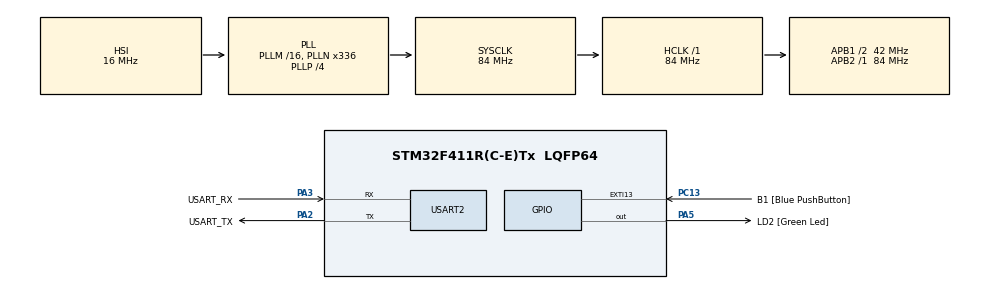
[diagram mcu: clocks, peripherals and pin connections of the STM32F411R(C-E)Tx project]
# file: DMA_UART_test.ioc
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Dma.Request0=USART2_RX
Dma.USART2_RX.0.Direction=DMA_PERIPH_TO_MEMORY
Dma.USART2_RX.0.FIFOMode=DMA_FIFOMODE_DISABLE
Dma.USART2_RX.0.Instance=DMA1_Stream5
Dma.USART2_RX.0.MemDataAlignment=DMA_MDATAALIGN_BYTE
Dma.USART2_RX.0.MemInc=DMA_MINC_ENABLE
Dma.USART2_RX.0.Mode=DMA_CIRCULAR
Dma.USART2_RX.0.PeriphDataAlignment=DMA_PDATAALIGN_BYTE
Dma.USART2_RX.0.PeriphInc=DMA_PINC_DISABLE
Dma.USART2_RX.0.Priority=DMA_PRIORITY_LOW
Mcu.Family=STM32F4
Mcu.Name=STM32F411R(C-E)Tx
Mcu.Package=LQFP64
NVIC.DMA1_Stream5_IRQn=true\:0\:0\:false\:false\:true\:false\:true\:true
NVIC.PriorityGroup=NVIC_PRIORITYGROUP_0
NVIC.USART2_IRQn=true\:0\:0\:false\:false\:true\:true\:true\:true
PA13.GPIO_Label=TMS
PA13.Mode=Serial_Wire
PA13.Signal=SYS_JTMS-SWDIO
PA14.GPIO_Label=TCK
PA14.Mode=Serial_Wire
PA14.Signal=SYS_JTCK-SWCLK
PA2.GPIO_Label=USART_TX
PA2.Mode=Asynchronous
PA2.Signal=USART2_TX
PA3.GPIO_Label=USART_RX
PA3.Mode=Asynchronous
PA3.Signal=USART2_RX
PA5.GPIO_Label=LD2 [Green Led]
PA5.Signal=GPIO_Output
PB3.GPIO_Label=SWO
PB3.Signal=SYS_JTDO-SWO
PC13-ANTI_TAMP.GPIO_Label=B1 [Blue PushButton]
PC13-ANTI_TAMP.GPIO_ModeDefaultEXTI=GPIO_MODE_IT_FALLING
PC13-ANTI_TAMP.Signal=GPXTI13
PC14-OSC32_IN.Mode=LSE-External-Oscillator
PC14-OSC32_IN.Signal=RCC_OSC32_IN
PC15-OSC32_OUT.Mode=LSE-External-Oscillator
PC15-OSC32_OUT.Signal=RCC_OSC32_OUT
PH0\ -\ OSC_IN.Mode=HSE-External-Clock-Source
PH0\ -\ OSC_IN.Signal=RCC_OSC_IN
PH1\ -\ OSC_OUT.Mode=HSE-External-Clock-Source
PH1\ -\ OSC_OUT.Signal=RCC_OSC_OUT
ProjectManager.HeapSize=0x200
ProjectManager.StackSize=0x400
ProjectManager.TargetToolchain=STM32CubeIDE
RCC.48MHZClocksFreq_Value=84000000
RCC.AHBFreq_Value=84000000
RCC.APB1CLKDivider=RCC_HCLK_DIV2
RCC.APB1Freq_Value=42000000
RCC.APB1TimFreq_Value=84000000
RCC.APB2Freq_Value=84000000
RCC.APB2TimFreq_Value=84000000
RCC.CortexFreq_Value=84000000
RCC.FLatency-AdvancedSettings=FLASH_LATENCY_2
RCC.HCLKFreq_Value=84000000
RCC.HSE_VALUE=8000000
RCC.HSI_VALUE=16000000
RCC.PLLN=336
RCC.PLLP=RCC_PLLP_DIV4
RCC.SYSCLKFreq_VALUE=84000000
RCC.SYSCLKSource=RCC_SYSCLKSOURCE_PLLCLK
RCC.VCOOutputFreq_Value=336000000
USART2.VirtualMode=VM_ASYNC
board=NUCLEO-F411RE

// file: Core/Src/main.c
/* USER CODE BEGIN Header */
/**
  ******************************************************************************
  * @file           : main.c
  * @brief          : Main program body
  ******************************************************************************
  * @attention
  *
  * Copyright (c) 2025 STMicroelectronics.
  * All rights reserved.
  *
  * This software is licensed under terms that can be found in the LICENSE file
  * in the root directory of this software component.
  * If no LICENSE file comes with this software, it is provided AS-IS.
  *
  ******************************************************************************
  */
/* USER CODE END Header */
#include "main.h"

/* USER CODE BEGIN Includes */
#include <stdio.h>
#include <string.h>
/* USER CODE END Includes */

UART_HandleTypeDef huart2;
DMA_HandleTypeDef hdma_usart2_rx;

/* USER CODE BEGIN PV */
uint8_t receive_data = 0;
const char* send_msg = "send\n\r";
const char* recv_msg = "recv\n\r";
volatile uint8_t flag_received = 0;
volatile uint8_t last_receive_tick = 0;
/* USER CODE END PV */

void SystemClock_Config(void);
static void MX_GPIO_Init(void);
static void MX_DMA_Init(void);
static void MX_USART2_UART_Init(void);
/* USER CODE BEGIN PFP */
void HAL_UART_RxCpltCallback(UART_HandleTypeDef* huart)
{
	if (huart->Instance == USART2)
	{
		flag_received = 1;
		last_receive_tick = HAL_GetTick();
		HAL_UART_Receive_DMA(&huart2, &receive_data, 1);
	}
}
/* USER CODE END PFP */

int main(void)
{

  /* MCU Configuration--------------------------------------------------------*/

  /* Reset of all peripherals, Initializes the Flash interface and the Systick. */
  HAL_Init();

  /* Configure the system clock */
  SystemClock_Config();

  /* Initialize all configured peripherals */
  MX_GPIO_Init();
  MX_DMA_Init();
  MX_USART2_UART_Init();
  HAL_UART_Receive_DMA(&huart2, &receive_data, 1);
  /* USER CODE BEGIN 2 */
  uint32_t last_send_tick = 0;
  /* USER CODE END 2 */

  /* Infinite loop */
  /* USER CODE BEGIN WHILE */
  while (1)
  {
	  uint32_t current_tick = HAL_GetTick();

	  if (flag_received == 1)
	  {
		  flag_received = 0;
		  HAL_UART_Transmit(&huart2, (uint8_t*)recv_msg, strlen(recv_msg), 100);
	  }

	  if ((current_tick - last_receive_tick > 500) && (current_tick - last_send_tick >= 1000))
	  {
		  HAL_UART_Transmit(&huart2, (uint8_t)send_msg, strlen(send_msg), 100);
		  last_send_tick = current_tick;
	  }

	  if (current_tick - last_receive_tick <= 500)
	  {
		  last_send_tick = current_tick;
	  }
    /* USER CODE END WHILE */

  }
}

void SystemClock_Config(void)
{
  RCC_OscInitTypeDef RCC_OscInitStruct = {0};
  RCC_ClkInitTypeDef RCC_ClkInitStruct = {0};

  /** Configure the main internal regulator output voltage
  */
  __HAL_RCC_PWR_CLK_ENABLE();
  __HAL_PWR_VOLTAGESCALING_CONFIG(PWR_REGULATOR_VOLTAGE_SCALE1);

  /** Initializes the RCC Oscillators according to the specified parameters
  * in the RCC_OscInitTypeDef structure.
  */
  RCC_OscInitStruct.OscillatorType = RCC_OSCILLATORTYPE_HSI;
  RCC_OscInitStruct.HSIState = RCC_HSI_ON;
  RCC_OscInitStruct.HSICalibrationValue = RCC_HSICALIBRATION_DEFAULT;
  RCC_OscInitStruct.PLL.PLLState = RCC_PLL_ON;
  RCC_OscInitStruct.PLL.PLLSource = RCC_PLLSOURCE_HSI;
  RCC_OscInitStruct.PLL.PLLM = 16;
  RCC_OscInitStruct.PLL.PLLN = 336;
  RCC_OscInitStruct.PLL.PLLP = RCC_PLLP_DIV4;
  RCC_OscInitStruct.PLL.PLLQ = 4;
  if (HAL_RCC_OscConfig(&RCC_OscInitStruct) != HAL_OK)
  {
    Error_Handler();
  }

  /** Initializes the CPU, AHB and APB buses clocks
  */
  RCC_ClkInitStruct.ClockType = RCC_CLOCKTYPE_HCLK|RCC_CLOCKTYPE_SYSCLK
                              |RCC_CLOCKTYPE_PCLK1|RCC_CLOCKTYPE_PCLK2;
  RCC_ClkInitStruct.SYSCLKSource = RCC_SYSCLKSOURCE_PLLCLK;
  RCC_ClkInitStruct.AHBCLKDivider = RCC_SYSCLK_DIV1;
  RCC_ClkInitStruct.APB1CLKDivider = RCC_HCLK_DIV2;
  RCC_ClkInitStruct.APB2CLKDivider = RCC_HCLK_DIV1;

  if (HAL_RCC_ClockConfig(&RCC_ClkInitStruct, FLASH_LATENCY_2) != HAL_OK)
  {
    Error_Handler();
  }
}

static void MX_USART2_UART_Init(void)
{

  huart2.Instance = USART2;
  huart2.Init.BaudRate = 115200;
  huart2.Init.WordLength = UART_WORDLENGTH_8B;
  huart2.Init.StopBits = UART_STOPBITS_1;
  huart2.Init.Parity = UART_PARITY_NONE;
  huart2.Init.Mode = UART_MODE_TX_RX;
  huart2.Init.HwFlowCtl = UART_HWCONTROL_NONE;
  huart2.Init.OverSampling = UART_OVERSAMPLING_16;
  if (HAL_UART_Init(&huart2) != HAL_OK)
  {
    Error_Handler();
  }

}

static void MX_DMA_Init(void)
{

  /* DMA controller clock enable */
  __HAL_RCC_DMA1_CLK_ENABLE();

  /* DMA interrupt init */
  /* DMA1_Stream5_IRQn interrupt configuration */
  HAL_NVIC_SetPriority(DMA1_Stream5_IRQn, 0, 0);
  HAL_NVIC_EnableIRQ(DMA1_Stream5_IRQn);

}

static void MX_GPIO_Init(void)
{
  GPIO_InitTypeDef GPIO_InitStruct = {0};

  /* GPIO Ports Clock Enable */
  __HAL_RCC_GPIOC_CLK_ENABLE();
  __HAL_RCC_GPIOH_CLK_ENABLE();
  __HAL_RCC_GPIOA_CLK_ENABLE();
  __HAL_RCC_GPIOB_CLK_ENABLE();

  /*Configure GPIO pin Output Level */
  HAL_GPIO_WritePin(LD2_GPIO_Port, LD2_Pin, GPIO_PIN_RESET);

  /*Configure GPIO pin : B1_Pin */
  GPIO_InitStruct.Pin = B1_Pin;
  GPIO_InitStruct.Mode = GPIO_MODE_IT_FALLING;
  GPIO_InitStruct.Pull = GPIO_NOPULL;
  HAL_GPIO_Init(B1_GPIO_Port, &GPIO_InitStruct);

  /*Configure GPIO pin : LD2_Pin */
  GPIO_InitStruct.Pin = LD2_Pin;
  GPIO_InitStruct.Mode = GPIO_MODE_OUTPUT_PP;
  GPIO_InitStruct.Pull = GPIO_NOPULL;
  GPIO_InitStruct.Speed = GPIO_SPEED_FREQ_LOW;
  HAL_GPIO_Init(LD2_GPIO_Port, &GPIO_InitStruct);

}

void Error_Handler(void)
{
  __disable_irq();
  while (1)
  {
  }
}
